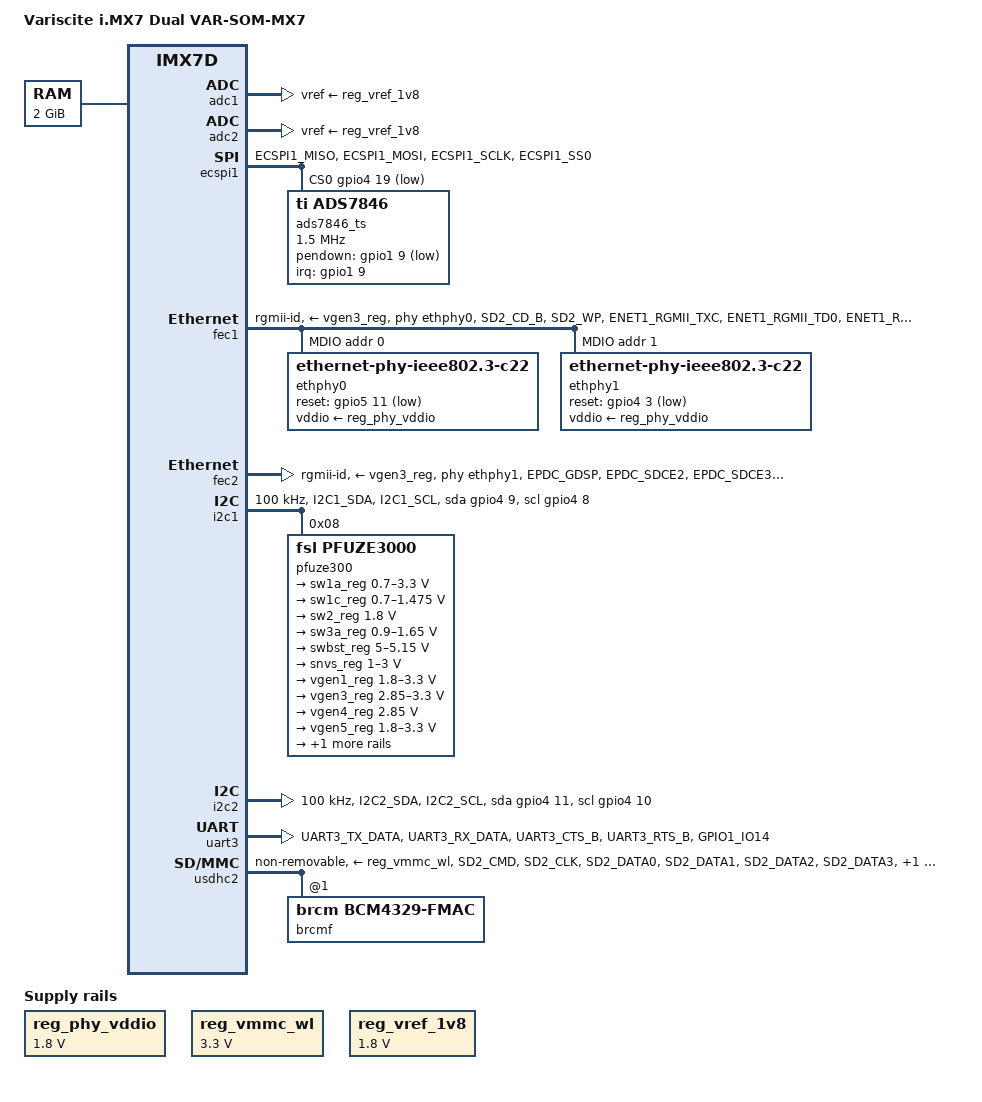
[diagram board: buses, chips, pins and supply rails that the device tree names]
// SPDX-License-Identifier: (GPL-2.0+ OR MIT)
/*
 * Common dtsi for Variscite VAR-SOM-MX7
 *
 * Link: https://variscite.com/system-on-module-som/i-mx-7/var-som-mx7/
 *
 * Copyright (C) 2026 Variscite Ltd. - https://www.variscite.com/
 *
 */

#include <dt-bindings/leds/common.h>
#include "imx7d.dtsi"

/ {
	model = "Variscite i.MX7 Dual VAR-SOM-MX7";
	compatible = "variscite,var-som-imx7d", "fsl,imx7d";

	memory@80000000 {
		device_type = "memory";
		reg = <0x80000000 0x80000000>;
	};

	reg_phy_vddio: regulator-phy-vddio {
		compatible = "regulator-fixed";
		regulator-name = "vddio-1v8";
		regulator-min-microvolt = <1800000>;
		regulator-max-microvolt = <1800000>;
	};

	reg_vmmc_wl: regulator-vmmc-wl {
		compatible = "regulator-fixed";
		regulator-min-microvolt = <3300000>;
		regulator-max-microvolt = <3300000>;
		regulator-name = "wlreg_on";
	};

	reg_vref_1v8: regulator-vref-1v8 {
		compatible = "regulator-fixed";
		regulator-name = "vref-1v8";
		regulator-min-microvolt = <1800000>;
		regulator-max-microvolt = <1800000>;
	};

};

&adc1 {
	vref-supply = <&reg_vref_1v8>;
	status = "okay";
};

&adc2 {
	vref-supply = <&reg_vref_1v8>;
	status = "okay";
};

&cpu0 {
	cpu-supply = <&sw1a_reg>;
};

&cpu1 {
	cpu-supply = <&sw1a_reg>;
};

&ecspi1 {
	pinctrl-names = "default", "sleep";
	pinctrl-0 = <&pinctrl_ecspi1>;
	pinctrl-1 = <&pinctrl_ecspi1_sleep>;
	cs-gpios = <&gpio4 19 GPIO_ACTIVE_LOW>;
	status = "okay";

	/* Resistive touch controller */
	ads7846_ts: touchscreen@0 {
		reg = <0>;
		compatible = "ti,ads7846";
		pinctrl-names = "default";
		pinctrl-0 = <&pinctrl_restouch>;
		interrupt-parent = <&gpio1>;
		interrupts = <9 IRQ_TYPE_EDGE_FALLING>;
		spi-max-frequency = <1500000>;
		pendown-gpio = <&gpio1 9 GPIO_ACTIVE_LOW>;
		ti,x-min = /bits/ 16 <125>;
		ti,x-max = /bits/ 16 <4008>;
		ti,y-min = /bits/ 16 <282>;
		ti,y-max = /bits/ 16 <3864>;
		ti,x-plate-ohms = /bits/ 16 <180>;
		ti,pressure-max = /bits/ 16 <255>;
		ti,debounce-max = /bits/ 16 <10>;
		ti,debounce-tol = /bits/ 16 <3>;
		ti,debounce-rep = /bits/ 16 <1>;
		ti,settle-delay-usec = /bits/ 16 <150>;
		ti,keep-vref-on;
	};
};

&fec1 {
	pinctrl-names = "default", "sleep";
	pinctrl-0 = <&pinctrl_enet1>,
		    <&pinctrl_enet1_rst>,
		    <&pinctrl_enet2_rst>;
	pinctrl-1 = <&pinctrl_enet1_sleep>,
		    <&pinctrl_enet1_rst_sleep>,
		    <&pinctrl_enet2_rst_sleep>;
	phy-supply = <&vgen3_reg>;
	assigned-clocks = <&clks IMX7D_ENET_PHY_REF_ROOT_SRC>,
			  <&clks IMX7D_ENET_AXI_ROOT_SRC>,
			  <&clks IMX7D_ENET1_TIME_ROOT_SRC>,
			  <&clks IMX7D_ENET1_TIME_ROOT_CLK>,
			  <&clks IMX7D_ENET_AXI_ROOT_CLK>;
	assigned-clock-parents = <&clks IMX7D_PLL_ENET_MAIN_25M_CLK>,
				 <&clks IMX7D_PLL_ENET_MAIN_250M_CLK>,
				 <&clks IMX7D_PLL_ENET_MAIN_100M_CLK>;
	assigned-clock-rates = <0>, <0>, <0>, <100000000>, <250000000>;
	phy-mode = "rgmii-id";
	phy-handle = <&ethphy0>;
	status = "okay";

	mdio {
		#address-cells = <1>;
		#size-cells = <0>;

		ethphy0: ethernet-phy@0 {
			compatible = "ethernet-phy-ieee802.3-c22";
			reg = <0>;
			reset-gpios = <&gpio5 11 GPIO_ACTIVE_LOW>;
			reset-assert-us = <20000>;
			reset-deassert-us = <80000>;
			vddio-supply = <&reg_phy_vddio>;
		};

		ethphy1: ethernet-phy@1 {
			compatible = "ethernet-phy-ieee802.3-c22";
			reg = <1>;
			reset-gpios = <&gpio4 3 GPIO_ACTIVE_LOW>;
			reset-assert-us = <20000>;
			reset-deassert-us = <80000>;
			vddio-supply = <&reg_phy_vddio>;
		};
	};
};

&fec2 {
	pinctrl-names = "default", "sleep";
	pinctrl-0 = <&pinctrl_enet2>;
	pinctrl-1 = <&pinctrl_enet2_sleep>;
	phy-supply = <&vgen3_reg>;
	assigned-clocks = <&clks IMX7D_ENET_PHY_REF_ROOT_SRC>,
			  <&clks IMX7D_ENET_AXI_ROOT_SRC>,
			  <&clks IMX7D_ENET2_TIME_ROOT_SRC>,
			  <&clks IMX7D_ENET2_TIME_ROOT_CLK>,
			  <&clks IMX7D_ENET_AXI_ROOT_CLK>;
	assigned-clock-parents = <&clks IMX7D_PLL_ENET_MAIN_25M_CLK>,
				 <&clks IMX7D_PLL_ENET_MAIN_250M_CLK>,
				 <&clks IMX7D_PLL_ENET_MAIN_100M_CLK>;
	assigned-clock-rates = <0>, <0>, <0>, <100000000>, <250000000>;
	phy-mode = "rgmii-id";
	phy-handle = <&ethphy1>;
	status = "okay";
};

&i2c1 {
	clock-frequency = <100000>;
	pinctrl-names = "default", "gpio";
	pinctrl-0 = <&pinctrl_i2c1>;
	pinctrl-1 = <&pinctrl_i2c1_gpio>;
	scl-gpios = <&gpio4 8 (GPIO_ACTIVE_HIGH | GPIO_OPEN_DRAIN)>;
	sda-gpios = <&gpio4 9 (GPIO_ACTIVE_HIGH | GPIO_OPEN_DRAIN)>;
	status = "okay";

	pfuze300: pmic@8 {
		compatible = "fsl,pfuze3000";
		reg = <0x08>;

		regulators {
			sw1a_reg: sw1a {
				regulator-min-microvolt = <700000>;
				regulator-max-microvolt = <3300000>;
				regulator-boot-on;
				regulator-always-on;
				regulator-ramp-delay = <6250>;
			};

			/* use sw1c_reg to align with pfuze100/pfuze200 */
			sw1c_reg: sw1b {
				regulator-min-microvolt = <700000>;
				regulator-max-microvolt = <1475000>;
				regulator-boot-on;
				regulator-always-on;
				regulator-ramp-delay = <6250>;
			};

			sw2_reg: sw2 {
				regulator-min-microvolt = <1800000>;
				regulator-max-microvolt = <1800000>;
				regulator-boot-on;
				regulator-always-on;
			};

			sw3a_reg: sw3 {
				regulator-min-microvolt = <900000>;
				regulator-max-microvolt = <1650000>;
				regulator-boot-on;
				regulator-always-on;
			};

			swbst_reg: swbst {
				regulator-min-microvolt = <5000000>;
				regulator-max-microvolt = <5150000>;
			};

			snvs_reg: vsnvs {
				regulator-min-microvolt = <1000000>;
				regulator-max-microvolt = <3000000>;
				regulator-boot-on;
				regulator-always-on;
			};

			vref_reg: vrefddr {
				regulator-boot-on;
				regulator-always-on;
			};

			vgen1_reg: vldo1 {
				regulator-min-microvolt = <1800000>;
				regulator-max-microvolt = <3300000>;
				regulator-always-on;
			};

			vgen2_reg: vldo2 {
				status = "disabled";
			};

			vgen3_reg: vccsd {
				regulator-min-microvolt = <2850000>;
				regulator-max-microvolt = <3300000>;
				regulator-boot-on;

				regulator-state-mem {
					regulator-off-in-suspend;
				};
			};

			vgen4_reg: v33 {
				regulator-min-microvolt = <2850000>;
				regulator-max-microvolt = <2850000>;
				regulator-always-on;
			};

			vgen5_reg: vldo3 {
				regulator-min-microvolt = <1800000>;
				regulator-max-microvolt = <3300000>;
				regulator-always-on;
			};

			vgen6_reg: vldo4 {
				regulator-min-microvolt = <1800000>;
				regulator-max-microvolt = <3300000>;
				regulator-always-on;
			};
		};
	};
};

&i2c2 {
	clock-frequency = <100000>;
	pinctrl-names = "default", "gpio";
	pinctrl-0 = <&pinctrl_i2c2>;
	pinctrl-1 = <&pinctrl_i2c2_gpio>;
	scl-gpios = <&gpio4 10 (GPIO_ACTIVE_HIGH | GPIO_OPEN_DRAIN)>;
	sda-gpios = <&gpio4 11 (GPIO_ACTIVE_HIGH | GPIO_OPEN_DRAIN)>;
	status = "okay";
};

&reg_1p0d {
	vin-supply = <&sw2_reg>;
};

&reg_1p2 {
	vin-supply = <&sw2_reg>;
};

/* BT */
&uart3 {
	pinctrl-names = "default";
	pinctrl-0 = <&pinctrl_uart3>, <&pinctrl_bt>;
	assigned-clocks = <&clks IMX7D_UART3_ROOT_SRC>;
	assigned-clock-parents = <&clks IMX7D_PLL_SYS_MAIN_240M_CLK>;
	uart-has-rtscts;
	status = "okay";
};

/* WiFi */
&usdhc2 {
	#address-cells = <1>;
	#size-cells = <0>;
	pinctrl-names = "default", "state_100mhz", "state_200mhz", "sleep";
	pinctrl-0 = <&pinctrl_usdhc2>, <&pinctrl_wlan>;
	pinctrl-1 = <&pinctrl_usdhc2_100mhz>, <&pinctrl_wlan>;
	pinctrl-2 = <&pinctrl_usdhc2_200mhz>, <&pinctrl_wlan>;
	pinctrl-3 = <&pinctrl_usdhc2_sleep>, <&pinctrl_wlan_sleep>;
	keep-power-in-suspend;
	non-removable;
	vmmc-supply = <&reg_vmmc_wl>;
	status = "okay";

	brcmf: wifi@1 {
		compatible = "brcm,bcm4329-fmac";
		reg = <1>;
	};
};

&iomuxc {
	/* GPIO Used in User Space init script */
	pinctrl_bt: btgrp {
		fsl,pins = <
			MX7D_PAD_GPIO1_IO14__GPIO1_IO14			0x80000000
		>;
	};

	pinctrl_ecspi1: ecspi1grp {
		fsl,pins = <
			MX7D_PAD_ECSPI1_MISO__ECSPI1_MISO		0x2
			MX7D_PAD_ECSPI1_MOSI__ECSPI1_MOSI		0x2
			MX7D_PAD_ECSPI1_SCLK__ECSPI1_SCLK		0x2
			MX7D_PAD_ECSPI1_SS0__GPIO4_IO19			0x2
		>;
	};

	pinctrl_ecspi1_sleep: ecspi1-sleepgrp {
		fsl,pins = <
			MX7D_PAD_ECSPI1_MISO__GPIO4_IO18		0x10
			MX7D_PAD_ECSPI1_MOSI__GPIO4_IO17		0x10
			MX7D_PAD_ECSPI1_SCLK__GPIO4_IO16		0x10
		>;
	};

	pinctrl_enet1: enet1grp {
		fsl,pins = <
			MX7D_PAD_SD2_CD_B__ENET1_MDIO			0x3
			MX7D_PAD_SD2_WP__ENET1_MDC			0x3
			MX7D_PAD_ENET1_RGMII_TXC__ENET1_RGMII_TXC	0x1
			MX7D_PAD_ENET1_RGMII_TD0__ENET1_RGMII_TD0	0x1
			MX7D_PAD_ENET1_RGMII_TD1__ENET1_RGMII_TD1	0x1
			MX7D_PAD_ENET1_RGMII_TD2__ENET1_RGMII_TD2	0x1
			MX7D_PAD_ENET1_RGMII_TD3__ENET1_RGMII_TD3	0x1
			MX7D_PAD_ENET1_RGMII_TX_CTL__ENET1_RGMII_TX_CTL	0x1
			MX7D_PAD_ENET1_RGMII_RXC__ENET1_RGMII_RXC	0x1
			MX7D_PAD_ENET1_RGMII_RD0__ENET1_RGMII_RD0	0x1
			MX7D_PAD_ENET1_RGMII_RD1__ENET1_RGMII_RD1	0x1
			MX7D_PAD_ENET1_RGMII_RD2__ENET1_RGMII_RD2	0x1
			MX7D_PAD_ENET1_RGMII_RD3__ENET1_RGMII_RD3	0x1
			MX7D_PAD_ENET1_RGMII_RX_CTL__ENET1_RGMII_RX_CTL	0x1
		>;
	};

	pinctrl_enet1_rst: enet1rstgrp {
		fsl,pins = <
			MX7D_PAD_SD2_RESET_B__GPIO5_IO11		0x59
		>;
	};

	pinctrl_enet1_sleep: enet1-sleepgrp {
		fsl,pins = <
			MX7D_PAD_SD2_CD_B__GPIO5_IO9			0x10
			MX7D_PAD_SD2_WP__GPIO5_IO10			0x10
			MX7D_PAD_ENET1_RGMII_TXC__GPIO7_IO11		0x10
			MX7D_PAD_ENET1_RGMII_TD0__GPIO7_IO6		0x10
			MX7D_PAD_ENET1_RGMII_TD1__GPIO7_IO7		0x10
			MX7D_PAD_ENET1_RGMII_TD2__GPIO7_IO8		0x10
			MX7D_PAD_ENET1_RGMII_TD3__GPIO7_IO9		0x10
			MX7D_PAD_ENET1_RGMII_TX_CTL__GPIO7_IO10		0x10
			MX7D_PAD_ENET1_RGMII_RXC__GPIO7_IO5		0x10
			MX7D_PAD_ENET1_RGMII_RD0__GPIO7_IO0		0x10
			MX7D_PAD_ENET1_RGMII_RD1__GPIO7_IO1		0x10
			MX7D_PAD_ENET1_RGMII_RD2__GPIO7_IO2		0x10
			MX7D_PAD_ENET1_RGMII_RD3__GPIO7_IO3		0x10
			MX7D_PAD_ENET1_RGMII_RX_CTL__GPIO7_IO4		0x10
		>;
	};

	pinctrl_enet1_rst_sleep: enet1-rstsleepgrp {
		fsl,pins = <
			MX7D_PAD_SD2_RESET_B__GPIO5_IO11		0x10
		>;
	};

	pinctrl_enet2: enet2grp {
		fsl,pins = <
			MX7D_PAD_EPDC_GDSP__ENET2_RGMII_TXC		0x1
			MX7D_PAD_EPDC_SDCE2__ENET2_RGMII_TD0		0x1
			MX7D_PAD_EPDC_SDCE3__ENET2_RGMII_TD1		0x1
			MX7D_PAD_EPDC_GDCLK__ENET2_RGMII_TD2		0x1
			MX7D_PAD_EPDC_GDOE__ENET2_RGMII_TD3		0x1
			MX7D_PAD_EPDC_GDRL__ENET2_RGMII_TX_CTL		0x1
			MX7D_PAD_EPDC_SDCE1__ENET2_RGMII_RXC		0x1
			MX7D_PAD_EPDC_SDCLK__ENET2_RGMII_RD0		0x1
			MX7D_PAD_EPDC_SDLE__ENET2_RGMII_RD1		0x1
			MX7D_PAD_EPDC_SDOE__ENET2_RGMII_RD2		0x1
			MX7D_PAD_EPDC_SDSHR__ENET2_RGMII_RD3		0x1
			MX7D_PAD_EPDC_SDCE0__ENET2_RGMII_RX_CTL		0x1
		>;
	};

	pinctrl_enet2_rst: enet2rstgrp {
		fsl,pins = <
			MX7D_PAD_UART2_TX_DATA__GPIO4_IO3		0x59
		>;
	};

	pinctrl_enet2_sleep: enet2-sleepgrp {
		fsl,pins = <
			MX7D_PAD_EPDC_GDSP__GPIO2_IO27			0x10
			MX7D_PAD_EPDC_SDCE2__GPIO2_IO22			0x10
			MX7D_PAD_EPDC_SDCE3__GPIO2_IO23			0x10
			MX7D_PAD_EPDC_GDCLK__GPIO2_IO24			0x10
			MX7D_PAD_EPDC_GDOE__GPIO2_IO25			0x10
			MX7D_PAD_EPDC_GDRL__GPIO2_IO26			0x10
			MX7D_PAD_EPDC_SDCE1__GPIO2_IO21			0x10
			MX7D_PAD_EPDC_SDCLK__GPIO2_IO16			0x10
			MX7D_PAD_EPDC_SDLE__GPIO2_IO17			0x10
			MX7D_PAD_EPDC_SDOE__GPIO2_IO18			0x10
			MX7D_PAD_EPDC_SDSHR__GPIO2_IO19			0x10
			MX7D_PAD_EPDC_SDCE0__GPIO2_IO20			0x10
		>;
	};

	pinctrl_enet2_rst_sleep: enet2-rstsleepgrp {
		fsl,pins = <
			MX7D_PAD_UART2_TX_DATA__GPIO4_IO3		0x10
		>;
	};

	pinctrl_i2c1: i2c1grp {
		fsl,pins = <
			MX7D_PAD_I2C1_SDA__I2C1_SDA			0x4000007f
			MX7D_PAD_I2C1_SCL__I2C1_SCL			0x4000007f
		>;
	};

	pinctrl_i2c1_gpio: i2c1gpiogrp {
		fsl,pins = <
			MX7D_PAD_I2C1_SDA__GPIO4_IO9			0x4000007f
			MX7D_PAD_I2C1_SCL__GPIO4_IO8			0x4000007f
		>;
	};

	pinctrl_i2c2: i2c2grp {
		fsl,pins = <
			MX7D_PAD_I2C2_SDA__I2C2_SDA			0x4000007f
			MX7D_PAD_I2C2_SCL__I2C2_SCL			0x4000007f
		>;
	};

	pinctrl_i2c2_gpio: i2c2gpiogrp {
		fsl,pins = <
			MX7D_PAD_I2C2_SDA__GPIO4_IO11			0x4000007f
			MX7D_PAD_I2C2_SCL__GPIO4_IO10			0x4000007f
		>;
	};

	pinctrl_restouch: restouchgrp {
		fsl,pins = <
			MX7D_PAD_GPIO1_IO09__GPIO1_IO9			0x59
		>;
	};

	pinctrl_uart3: uart3grp {
		fsl,pins = <
			MX7D_PAD_UART3_TX_DATA__UART3_DCE_TX		0x79
			MX7D_PAD_UART3_RX_DATA__UART3_DCE_RX		0x79
			MX7D_PAD_UART3_CTS_B__UART3_DCE_CTS		0x79
			MX7D_PAD_UART3_RTS_B__UART3_DCE_RTS		0x79
		>;
	};

	pinctrl_usdhc2: usdhc2grp {
		fsl,pins = <
			MX7D_PAD_SD2_CMD__SD2_CMD			0x59
			MX7D_PAD_SD2_CLK__SD2_CLK			0x19
			MX7D_PAD_SD2_DATA0__SD2_DATA0			0x59
			MX7D_PAD_SD2_DATA1__SD2_DATA1			0x59
			MX7D_PAD_SD2_DATA2__SD2_DATA2			0x59
			MX7D_PAD_SD2_DATA3__SD2_DATA3			0x59
		>;
	};

	pinctrl_usdhc2_sleep: usdhc2-sleepgrp {
		fsl,pins = <
			MX7D_PAD_SD2_CMD__GPIO5_IO13			0x10
			MX7D_PAD_SD2_CLK__GPIO5_IO12			0x10
			MX7D_PAD_SD2_DATA0__GPIO5_IO14			0x10
			MX7D_PAD_SD2_DATA1__GPIO5_IO15			0x10
			MX7D_PAD_SD2_DATA2__GPIO5_IO16			0x10
			MX7D_PAD_SD2_DATA3__GPIO5_IO17			0x10
		>;
	};

	pinctrl_usdhc2_100mhz: usdhc2-100mhzgrp {
		fsl,pins = <
			MX7D_PAD_SD2_CMD__SD2_CMD			0x5a
			MX7D_PAD_SD2_CLK__SD2_CLK			0x1a
			MX7D_PAD_SD2_DATA0__SD2_DATA0			0x5a
			MX7D_PAD_SD2_DATA1__SD2_DATA1			0x5a
			MX7D_PAD_SD2_DATA2__SD2_DATA2			0x5a
			MX7D_PAD_SD2_DATA3__SD2_DATA3			0x5a
		>;
	};

	pinctrl_usdhc2_200mhz: usdhc2-200mhzgrp {
		fsl,pins = <
			MX7D_PAD_SD2_CMD__SD2_CMD			0x5b
			MX7D_PAD_SD2_CLK__SD2_CLK			0x1b
			MX7D_PAD_SD2_DATA0__SD2_DATA0			0x5b
			MX7D_PAD_SD2_DATA1__SD2_DATA1			0x5b
			MX7D_PAD_SD2_DATA2__SD2_DATA2			0x5b
			MX7D_PAD_SD2_DATA3__SD2_DATA3			0x5b
		>;
	};
};

&iomuxc_lpsr {
	/* GPIO Used in User Space init script */
	pinctrl_wlan: wlangrp {
		fsl,pins = <
			MX7D_PAD_LPSR_GPIO1_IO04__GPIO1_IO4		0x09
		>;
	};

	pinctrl_wlan_sleep: wlan-sleepgrp {
		fsl,pins = <
			MX7D_PAD_LPSR_GPIO1_IO04__GPIO1_IO4		0x10
		>;
	};
};
